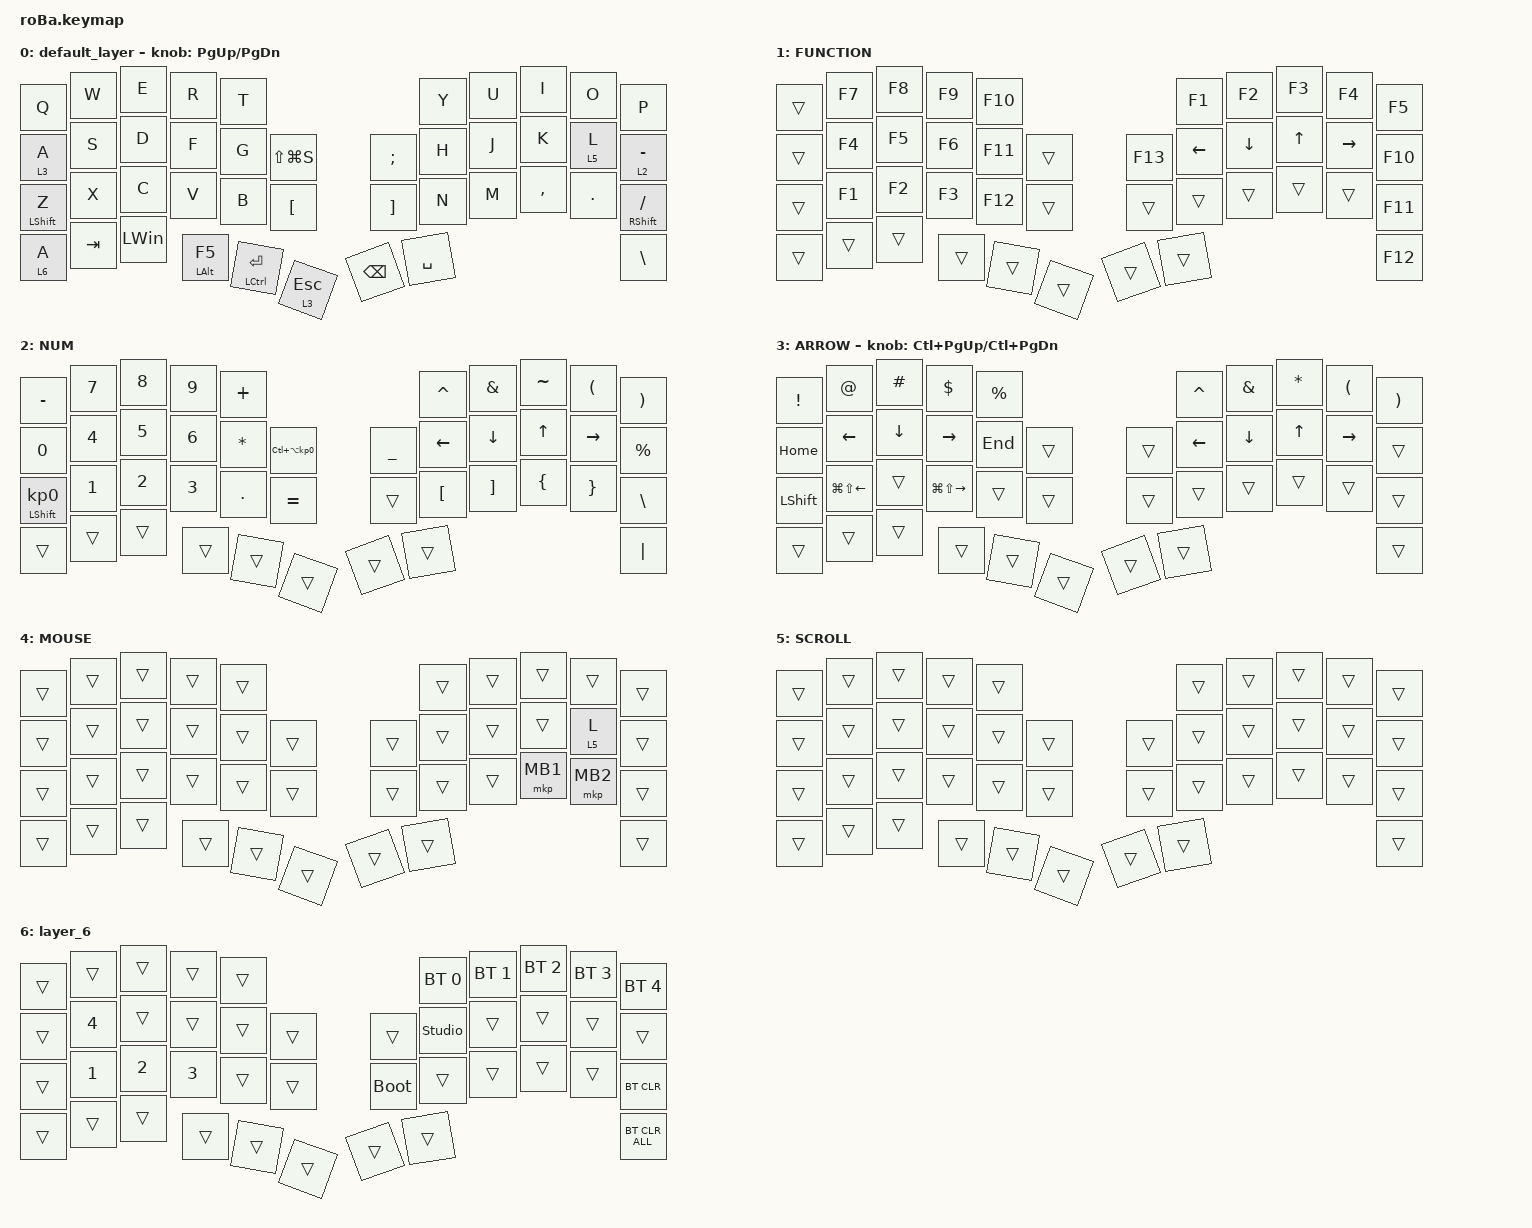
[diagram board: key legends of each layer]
#include <behaviors.dtsi>
#include <dt-bindings/zmk/bt.h>
#include <dt-bindings/zmk/keys.h>
#include <dt-bindings/zmk/pointing.h>

#define ZMK_POINTING_DEFAULT_SCRL_VAL 80  // ロータリーエンコーダー用
#define MOUSE 4
#define SCROLL 5
#define NUM 6

&mt {
    flavor = "balanced";
    quick-tap-ms = <0>;
};

/ {
    combos {
        compatible = "zmk,combos";

        tab {
            bindings = <&kp TAB>;
            key-positions = <11 12>;
        };

        shift_tab {
            bindings = <&kp LS(TAB)>;
            key-positions = <12 13>;
        };

        muhennkann {
            bindings = <&to_layer_0 INT_MUHENKAN>;
            key-positions = <11 10>;
        };

        double_quotation {
            bindings = <&kp DOUBLE_QUOTES>;
            key-positions = <20 21>;
        };

        eq {
            bindings = <&kp EQUAL>;
            key-positions = <24 25>;
        };
    };

    macros {
        to_layer_0: to_layer_0 {
            compatible = "zmk,behavior-macro-one-param";
            #binding-cells = <1>;
            bindings = <&to 0 &macro_param_1to1 &kp MACRO_PLACEHOLDER>;
            label = "TO_LAYER_0";
        };
    };

    behaviors {
        lt_to_layer_0: lt_to_layer_0 {
            compatible = "zmk,behavior-hold-tap";
            label = "LAYER_TAP_TO_0";
            bindings = <&mo>, <&to_layer_0>;

            #binding-cells = <2>;
            tapping-term-ms = <200>;
        };
    };

    keymap {
        compatible = "zmk,keymap";

        default_layer {
            bindings = <
&kp Q             &kp W    &kp E         &kp R            &kp T                                                            &kp Y      &kp U  &kp I      &kp O       &kp P
&lt 3 A           &kp S    &kp D         &kp F            &kp G            &kp LS(LG(S))                &kp SEMI           &kp H      &kp J  &kp K      &lt 5 L     &lt 2 MINUS
&mt LEFT_SHIFT Z  &kp X    &kp C         &kp V            &kp B            &kp LEFT_BRACKET             &kp RIGHT_BRACKET  &kp N      &kp M  &kp COMMA  &kp PERIOD  &mt RIGHT_SHIFT SLASH
&lt 6 A           &kp TAB  &kp LEFT_WIN  &mt LEFT_ALT F5  &mt LCTRL ENTER  &lt_to_layer_0 3 ESCAPE      &kp BACKSPACE      &kp SPACE                                &kp BACKSLASH
            >;

            sensor-bindings = <&inc_dec_kp PG_UP PAGE_DOWN>;
        };

        FUNCTION {
            bindings = <
&trans  &kp F7  &kp F8  &kp F9  &kp F10                       &kp F1    &kp F2          &kp F3        &kp F4     &kp F5
&trans  &kp F4  &kp F5  &kp F6  &kp F11  &trans      &kp F13  &kp LEFT  &kp DOWN_ARROW  &kp UP_ARROW  &kp RIGHT  &kp F10
&trans  &kp F1  &kp F2  &kp F3  &kp F12  &trans      &trans   &trans    &trans          &trans        &trans     &kp F11
&trans  &trans  &trans  &trans  &trans   &trans      &trans   &trans                                             &kp F12
            >;
        };

        NUM {
            bindings = <
&kp MINUS                   &kp N7        &kp N8        &kp N9        &kp PLUS                                                   &kp CARET         &kp AMPERSAND      &kp TILDE       &kp LEFT_PARENTHESIS  &kp RIGHT_PARENTHESIS
&kp N0                      &kp NUMBER_4  &kp NUMBER_5  &kp NUMBER_6  &kp ASTERISK  &kp LC(LA(KP_NUMBER_0))      &kp UNDERSCORE  &kp LEFT_ARROW    &kp DOWN_ARROW     &kp UP_ARROW    &kp RIGHT_ARROW       &kp PERCENT
&mt LEFT_SHIFT KP_NUMBER_0  &kp NUMBER_1  &kp NUMBER_2  &kp NUMBER_3  &kp PERIOD    &kp EQUAL                    &trans          &kp LEFT_BRACKET  &kp RIGHT_BRACKET  &kp LEFT_BRACE  &kp RIGHT_BRACE       &kp BACKSLASH
&trans                      &trans        &trans        &trans        &trans        &trans                       &trans          &trans                                                                     &kp PIPE
            >;
        };

        ARROW {
            bindings = <
&kp EXCLAMATION  &kp AT_SIGN             &kp HASH        &kp DOLLAR               &kp PERCENT                      &kp CARET  &kp AMPERSAND  &kp ASTERISK  &kp LEFT_PARENTHESIS  &kp RIGHT_PARENTHESIS
&kp HOME         &kp LEFT_ARROW          &kp DOWN_ARROW  &kp RIGHT_ARROW          &kp END      &trans      &trans  &kp LEFT   &kp DOWN       &kp UP_ARROW  &kp RIGHT_ARROW       &trans
&kp LEFT_SHIFT   &kp LG(LS(LEFT_ARROW))  &trans          &kp LG(LS(RIGHT_ARROW))  &trans       &trans      &trans  &trans     &trans         &trans        &trans                &trans
&trans           &trans                  &trans          &trans                   &trans       &trans      &trans  &trans                                                        &trans
            >;

            sensor-bindings = <&inc_dec_kp LC(PAGE_UP) LC(PAGE_DOWN)>;
        };

        MOUSE {
            bindings = <
&trans  &trans  &trans  &trans  &trans                      &trans  &trans  &trans    &trans    &trans
&trans  &trans  &trans  &trans  &trans  &trans      &trans  &trans  &trans  &trans    &lt 5 L   &trans
&trans  &trans  &trans  &trans  &trans  &trans      &trans  &trans  &trans  &mkp MB1  &mkp MB2  &trans
&trans  &trans  &trans  &trans  &trans  &trans      &trans  &trans                              &trans
            >;
        };

        SCROLL {
            bindings = <
&trans  &trans  &trans  &trans  &trans                      &trans  &trans  &trans  &trans  &trans
&trans  &trans  &trans  &trans  &trans  &trans      &trans  &trans  &trans  &trans  &trans  &trans
&trans  &trans  &trans  &trans  &trans  &trans      &trans  &trans  &trans  &trans  &trans  &trans
&trans  &trans  &trans  &trans  &trans  &trans      &trans  &trans                          &trans
            >;
        };

        layer_6 {
            bindings = <
&trans  &trans        &trans        &trans        &trans                           &bt BT_SEL 0  &bt BT_SEL 1  &bt BT_SEL 2  &bt BT_SEL 3  &bt BT_SEL 4
&trans  &kp NUMBER_4        &trans        &trans        &trans  &trans      &trans       &studio_unlock        &trans        &trans        &trans        &trans
&trans  &kp NUMBER_1  &kp NUMBER_2  &kp NUMBER_3  &trans  &trans      &bootloader  &trans        &trans        &trans        &trans        &bt BT_CLR
&trans  &trans        &trans        &trans        &trans  &trans      &trans       &trans                                                  &bt BT_CLR_ALL
            >;
        };
    };
};
